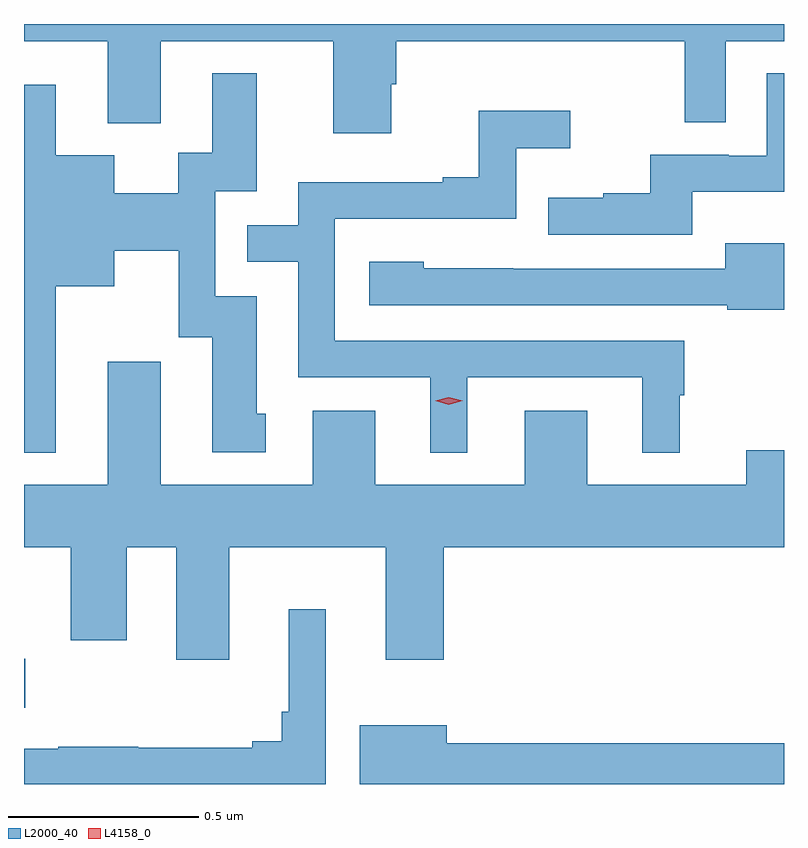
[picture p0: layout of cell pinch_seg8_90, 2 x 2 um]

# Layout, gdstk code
import gdstk
lib = gdstk.Library(unit=1e-6, precision=1e-09)
def R(c, l, rs):  # rectangles x0, y0, x1, y1
    for r in rs: c.add(gdstk.rectangle(r[:2], r[2:], *l))
def P(c, l, *ps):  # polygons
    for p in ps: c.add(gdstk.Polygon(p, *l))
L2000_40 = (2000, 40)
L4158_0 = (4158, 0)

pinch_seg8_90 = lib.new_cell('pinch_seg8_90')
R(pinch_seg8_90, L2000_40, [(1094.557,1100.094,1094.56,1100.223)])
P(pinch_seg8_90, L2000_40, [(1095.523,1101.735),(1095.536,1101.735),(1095.536,1101.848),(1096.296,1101.848),(1096.296,1101.634),(1096.404,1101.634),(1096.404,1101.848),(1096.557,1101.848),(1096.557,1101.893),(1094.557,1101.893),(1094.557,1101.848),(1094.777,1101.848),(1094.777,1101.632),(1094.917,1101.632),(1094.917,1101.848),(1095.371,1101.848),(1095.371,1101.606),(1095.523,1101.606)],
  [(1094.641,1101.203),(1094.794,1101.203),(1094.794,1101.296),(1094.964,1101.296),(1094.964,1101.069),(1095.053,1101.069),(1095.053,1100.766),(1095.193,1100.766),(1095.193,1100.868),(1095.169,1100.868),(1095.169,1101.177),(1095.06,1101.177),(1095.06,1101.453),(1095.169,1101.453),(1095.169,1101.763),(1095.053,1101.763),(1095.053,1101.554),(1094.963,1101.554),(1094.963,1101.448),(1094.794,1101.448),(1094.794,1101.547),(1094.641,1101.547),(1094.641,1101.733),(1094.557,1101.733),(1094.557,1100.765),(1094.641,1100.765)],
  [(1096.315,1101.452),(1096.557,1101.452),(1096.557,1101.763),(1096.512,1101.763),(1096.512,1101.546),(1096.412,1101.546),(1096.412,1101.549),(1096.205,1101.549),(1096.205,1101.448),(1096.081,1101.448),(1096.081,1101.436),(1095.937,1101.436),(1095.937,1101.339),(1096.315,1101.339)],
  [(1095.724,1100.964),(1096.184,1100.964),(1096.184,1100.765),(1096.282,1100.765),(1096.282,1100.916),(1096.294,1100.916),(1096.294,1101.06),(1095.375,1101.06),(1095.375,1101.381),(1095.852,1101.381),(1095.852,1101.566),(1095.994,1101.566),(1095.994,1101.665),(1095.754,1101.665),(1095.754,1101.49),(1095.659,1101.49),(1095.659,1101.477),(1095.279,1101.477),(1095.279,1101.363),(1095.145,1101.363),(1095.145,1101.267),(1095.279,1101.267),(1095.279,1100.964),(1095.626,1100.964),(1095.626,1100.765),(1095.724,1100.765)],
  [(1096.557,1101.316),(1096.403,1101.316),(1096.403,1101.249),(1095.845,1101.249),(1095.845,1101.25),(1095.609,1101.25),(1095.609,1101.268),(1095.465,1101.268),(1095.465,1101.153),(1096.407,1101.153),(1096.407,1101.141),(1096.557,1101.141)],
  [(1095.097,1100.516),(1095.509,1100.516),(1095.509,1100.22),(1095.662,1100.22),(1095.662,1100.516),(1096.557,1100.516),(1096.557,1100.771),(1096.457,1100.771),(1096.457,1100.68),(1096.039,1100.68),(1096.039,1100.875),(1095.875,1100.875),(1095.875,1100.68),(1095.481,1100.68),(1095.481,1100.875),(1095.317,1100.875),(1095.317,1100.68),(1094.917,1100.68),(1094.917,1101.004),(1094.777,1101.004),(1094.777,1100.68),(1094.557,1100.68),(1094.557,1100.516),(1094.68,1100.516),(1094.68,1100.271),(1094.827,1100.271),(1094.827,1100.516),(1094.957,1100.516),(1094.957,1100.22),(1095.097,1100.22)],
  [(1095.351,1100.353),(1095.254,1100.353),(1095.254,1100.083),(1095.235,1100.083),(1095.235,1100.006),(1095.158,1100.006),(1095.158,1099.989),(1094.858,1099.989),(1094.858,1099.991),(1094.647,1099.991),(1094.647,1099.986),(1094.557,1099.986),(1094.557,1099.893),(1095.351,1099.893)],
  [(1096.557,1100),(1095.67,1100),(1095.67,1100.047),(1095.44,1100.047),(1095.44,1099.893),(1096.557,1099.893)])
P(pinch_seg8_90, L4158_0, [(1095.675,1100.891),(1095.639,1100.901),(1095.639,1100.901),(1095.639,1100.902),(1095.675,1100.911),(1095.711,1100.902),(1095.711,1100.901),(1095.711,1100.901)])

lib.write_gds('pinch_seg8_90.gds')
